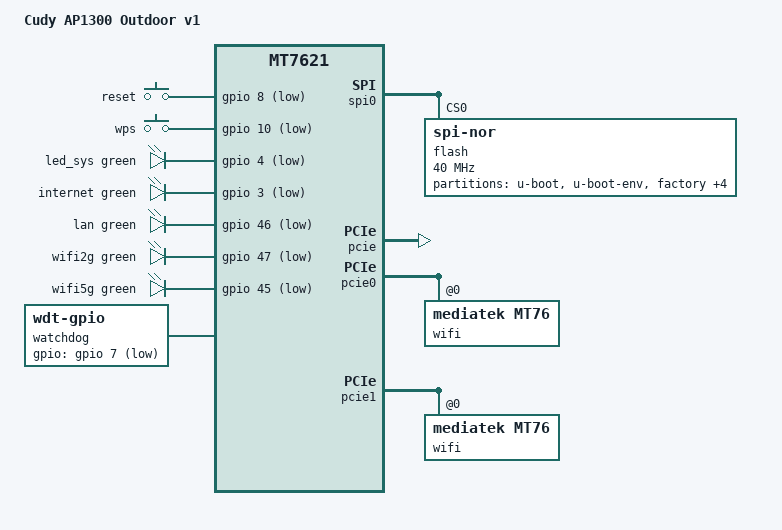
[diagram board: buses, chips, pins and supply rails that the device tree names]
// SPDX-License-Identifier: GPL-2.0-or-later OR MIT

#include "mt7621.dtsi"

#include <dt-bindings/input/input.h>
#include <dt-bindings/leds/common.h>
#include <dt-bindings/gpio/gpio.h>

/ {
	compatible = "cudy,ap1300-outdoor-v1", "mediatek,mt7621-soc";
	model = "Cudy AP1300 Outdoor v1";
	
	aliases {
		led-boot = &led_sys;
		led-failsafe = &led_sys;
		led-running = &led_sys;
		led-upgrade = &led_sys;		
		label-mac-device = &gmac0;
	};

	chosen {
		bootargs = "console=ttyS0,115200";
	};

	keys {
		compatible = "gpio-keys";

		reset {
			label = "reset";
			gpios = <&gpio 8 GPIO_ACTIVE_LOW>;
			linux,code = <KEY_RESTART>;
		};

		wps {
			label = "wps";
			gpios = <&gpio 10 GPIO_ACTIVE_LOW>;
			linux,code = <KEY_WPS_BUTTON>;
		};
	};

	leds {
		compatible = "gpio-leds";
		led_sys:status {
			gpios = <&gpio 4 GPIO_ACTIVE_LOW>;
			color = <LED_COLOR_ID_GREEN>;
			function = LED_FUNCTION_STATUS;
		};

		internet {
			gpios = <&gpio 3 GPIO_ACTIVE_LOW>;
			color = <LED_COLOR_ID_GREEN>;
			function = LED_FUNCTION_WAN_ONLINE;
		};

		lan {
			gpios = <&gpio 46 GPIO_ACTIVE_LOW>;
			color = <LED_COLOR_ID_GREEN>;
			function = LED_FUNCTION_LAN;
		};

		wifi2g {
			gpios = <&gpio 47 GPIO_ACTIVE_LOW>;
			color = <LED_COLOR_ID_GREEN>;
			function = LED_FUNCTION_WLAN_2GHZ;
			linux,default-trigger = "phy0tpt";
		};

		wifi5g {
			gpios = <&gpio 45 GPIO_ACTIVE_LOW>;
			color = <LED_COLOR_ID_GREEN>;
			function = LED_FUNCTION_WLAN_5GHZ;
			linux,default-trigger = "phy1tpt";
		};	
	};
	
	watchdog {
		compatible = "linux,wdt-gpio";
		gpios = <&gpio 7 GPIO_ACTIVE_LOW>;
		hw_algo = "toggle";
		/* hw_margin_ms seems to be around 30s for this device*/
		hw_margin_ms = <10000>;
		always-running;
	};
};

&spi0 {
	status = "okay";

	flash@0 {
		compatible = "jedec,spi-nor";
		reg = <0>;
		spi-max-frequency = <40000000>;
		partitions {
			compatible = "fixed-partitions";
			#address-cells = <1>;
			#size-cells = <1>;

			partition@0 {
				label = "u-boot";
				reg = <0x0 0x30000>;
				read-only;
			};

			partition@30000 {
				label = "u-boot-env";
				reg = <0x30000 0x10000>;
				read-only;
			};

			partition@40000 {
				label = "factory";
				reg = <0x40000 0x10000>;
				read-only;

				nvmem-layout {
					compatible = "fixed-layout";
					#address-cells = <1>;
					#size-cells = <1>;

					eeprom_factory_0: eeprom@0 {
						reg = <0x0 0x400>;
					};

					eeprom_factory_8000: eeprom@8000 {
						reg = <0x8000 0x4da8>;
					};
				};
			};

			partition@50000 {
				compatible = "denx,uimage";
				label = "firmware";
				reg = <0x50000 0xf80000>;
			};

			partition@fd0000 {
				label = "debug";
				reg = <0xfd0000 0x10000>;
				read-only;
			};

			partition@fe0000 {
				label = "backup";
				reg = <0xfe0000 0x10000>;
				read-only;
			};

			partition@ff0000 {
				label = "bdinfo";
				reg = <0xff0000 0x10000>;
				read-only;

				nvmem-layout {
					compatible = "fixed-layout";
					#address-cells = <1>;
					#size-cells = <1>;

					macaddr_bdinfo_de00: macaddr@de00 {
						compatible = "mac-base";
						reg = <0xde00 0x6>;
						#nvmem-cell-cells = <1>;
					};
				};
			};
		};
	};
};

&pcie {
	status = "okay";
};


&pcie0 {
	wifi@0,0 {
		compatible = "mediatek,mt76";
		reg = <0x0000 0 0 0 0>;
		nvmem-cells = <&eeprom_factory_0>, <&macaddr_bdinfo_de00 1>;
		nvmem-cell-names = "eeprom", "mac-address";
		ieee80211-freq-limit = <2400000 2500000>;
	};
};

&pcie1 {
	wifi@1,0 {
		compatible = "mediatek,mt76";
		reg = <0x0000 0 0 0 0>;
		nvmem-cells = <&eeprom_factory_8000>, <&macaddr_bdinfo_de00 2>;
		nvmem-cell-names = "eeprom", "mac-address";
		ieee80211-freq-limit = <5000000 6000000>;
	};
};

&gmac0 {
	nvmem-cells = <&macaddr_bdinfo_de00 1>;
	nvmem-cell-names = "mac-address";
};

&switch0 {
	ports {
		port@4 {
			status = "okay";
			label = "lan";
		};
	};
};

&state_default {
	gpio {
		groups = "wdt", "i2c", "jtag";
		function = "gpio";
	};
};
